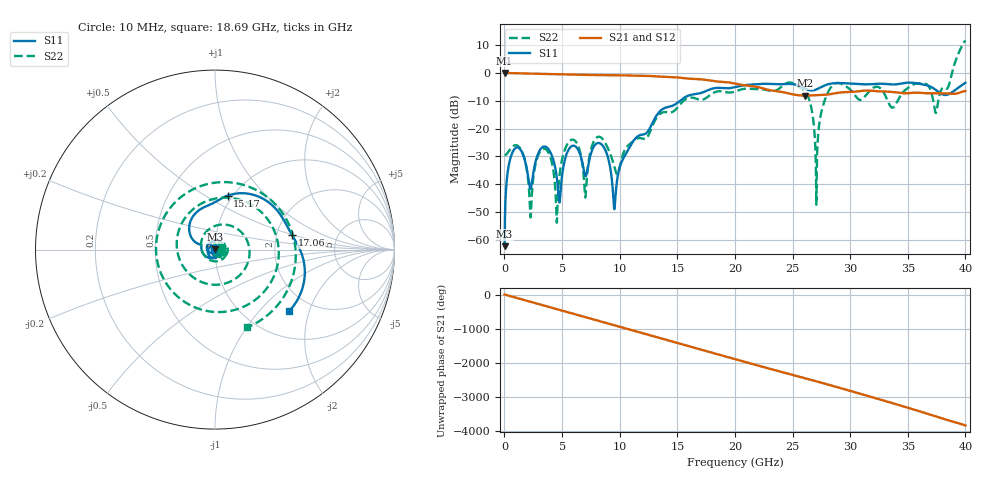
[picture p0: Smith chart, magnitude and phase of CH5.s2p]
!Keysight Technologies,N5245B,MY57181346,A.13.60.06
!Automatic Fixture Removal (AFR)
!Date: Thursday, August 08, 2019, 03:55:15
!S2P File: Measurements: S11,S21,S12,S22:
# MHz S  DB  R 50
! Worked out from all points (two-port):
!   4000 points, 10 MHz to 40 GHz, reference 50 ohm
!   highest |S21| = -0.01 dB at 10 MHz (marker M1); lowest = -8.2 dB at 26.08 GHz (marker M2)
!   |S21| within 3 dB of the highest: start of sweep to 18.23 GHz
!   lowest |S11| = -62.2 dB at 10 MHz (marker M3), VSWR 1.00, Z = 50 + j0.0599 ohm
!   |S11| at or under -10 dB: start of sweep to 15.24 GHz
!   |S22| runs from -53.8 to 11.6 dB; largest |S21 - S12| = 1.7e-14
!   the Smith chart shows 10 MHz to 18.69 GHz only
!   S11 on the Smith chart (normalised r, x): 10 MHz: 1.00, +0.00; 15.17 GHz: 0.95, +0.63; 17.06 GHz: 2.42, +0.50; 18.69 GHz: 1.54, -1.49
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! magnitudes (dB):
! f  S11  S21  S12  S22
! 10 MHz  -62.2  0.0  0.0  -29.6
! 940 MHz  -27.0  -0.1  -0.1  -26.0
! 2.26 GHz  -41.6  -0.3  -0.3  -51.9
! 3.26 GHz  -26.7  -0.4  -0.4  -27.5
! 4.53 GHz  -37.3  -0.5  -0.5  -53.4
! 5.52 GHz  -27.9  -0.6  -0.6  -25.1
! 6.68 GHz  -30.8  -0.7  -0.7  -30.7
! 7.04 GHz  -37.1  -0.7  -0.7  -44.2
! 8.47 GHz  -25.9  -0.8  -0.8  -23.5
! 9.56 GHz  -48.4  -0.8  -0.8  -34.1
! 13.34 GHz  -14.5  -1.3  -1.3  -15.4
! 15.17 GHz  -10.2  -1.7  -1.7  -11.7
! 17.06 GHz  -7.2  -2.3  -2.3  -9.7
! 18.69 GHz  -5.4  -3.2  -3.2  -6.6
! 20.01 GHz  -5.1  -3.9  -3.9  -6.7
! 26.08 GHz  -5.6  -8.2  -8.2  -6.6
! 26.67 GHz  -6.3  -8.1  -8.1  -13.4
! 27.08 GHz  -5.9  -8.0  -8.0  -39.9
! 28.61 GHz  -3.7  -7.4  -7.4  -4.0
! 33.34 GHz  -4.1  -6.7  -6.7  -10.8
! 37.46 GHz  -6.2  -7.3  -7.3  -14.2
! 40 GHz  -3.6  -6.5  -6.5  11.6
